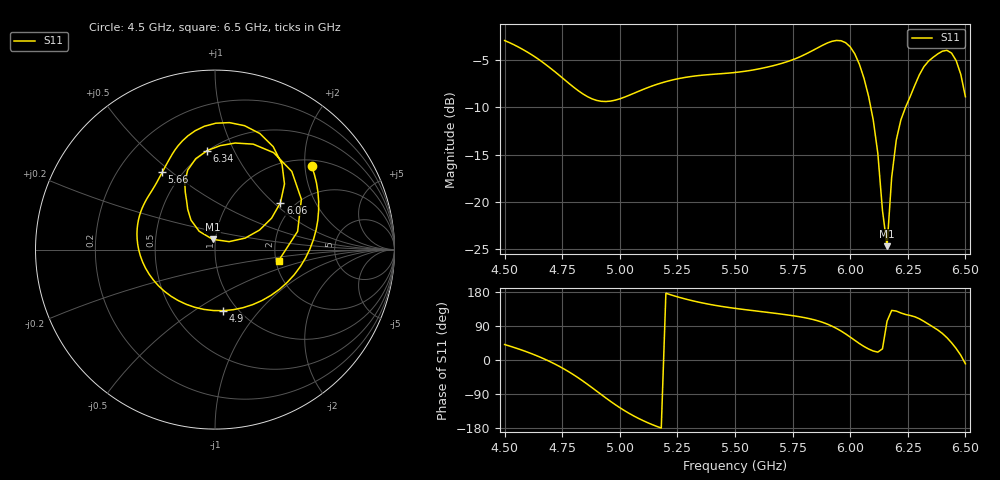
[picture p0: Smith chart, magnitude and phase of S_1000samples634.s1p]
! TOUCHSTONE file generated by CST MICROWAVE STUDIO
! Date and time: Fri Oct 28 20:34:01 2022
! Project name: L.cst
! Parameters = {Di=1.27; Epsilon_r=1.56; InnerDiameter=1.27; Length=2; Lf=10; Lg=60; OuterConductorThickness=0.2921; OuterDiameter=3.6; Wf=3; Wp=41.2; de=1.5; df=6.8; g=0.8; gx=3.15748; gy=0.674394; h=2.34; hf=1.524; px=13.7326; py=11.8529; w=9.7; wx=10.5751; wy=11.1785}
! Header version: 2018
! Port assignment regex: !\s*Touchstone port\s*([0-9]+)\s*=\s*(CST MWS port|CST DS port)\s*([0-9]+|Zmin|Zmax)\s*\(\"(.*)\"\)(\s*mode\s*([0-9]+))?.*
! Touchstone port assignment:
! Touchstone port 1 = CST MWS port 1 ("")
# GHz S DB R 50
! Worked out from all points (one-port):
!   101 points, 4.5 GHz to 6.5 GHz, reference 50 ohm
!   lowest |S11| = -24.7 dB at 6.16 GHz (marker M1), VSWR 1.12, Z = 48.5 + j5.54 ohm
!   |S11| at or under -10 dB: 6.089 GHz to 6.24 GHz (151.3 MHz wide, 2.45 % of centre)
!   S11 on the Smith chart (normalised r, x): 4.5 GHz: 1.15, +2.17; 4.9 GHz: 0.86, -0.66; 5.66 GHz: 0.39, +0.46; 6.06 GHz: 1.69, +1.11; 6.34 GHz: 0.50, +0.79; 6.5 GHz: 2.07, -0.30
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4.5  -2.96 40.8
4.64  -4.82 11.1
4.76  -7.09 -24.4
4.9  -9.29 -82.3
5  -9.12 -125.8
5.12  -7.94 -165.1
5.26  -6.96 165.0
5.5  -6.33 136.3
5.66  -5.65 124.3
5.76  -4.90 116.1
5.86  -3.72 103.3
5.92  -3.05 89.6
5.96  -2.98 76.6
6  -3.62 60.5
6.06  -6.96 35.6
6.1  -11.35 23.7
6.12  -14.89 20.8
6.14  -20.89 29.4
6.16  -24.68 102.4
6.18  -17.42 130.9
6.2  -13.47 129.2
6.26  -8.90 117.5
6.3  -6.59 108.9
6.34  -5.14 94.5
6.38  -4.37 79.3
6.42  -4.00 58.8
6.46  -5.08 30.2
6.5  -8.89 -10.0
